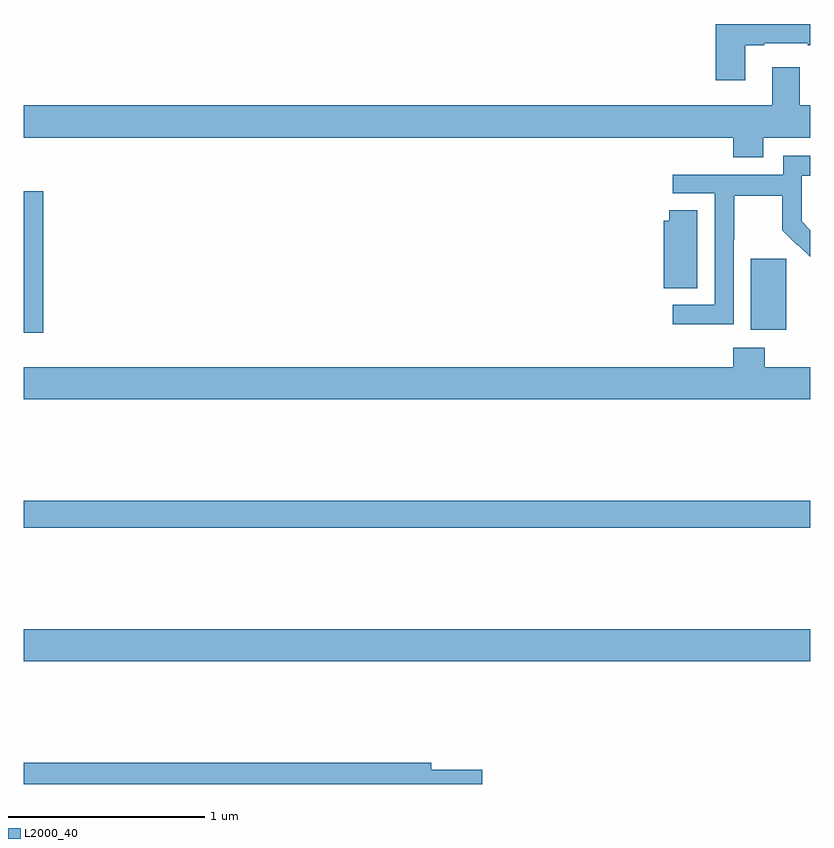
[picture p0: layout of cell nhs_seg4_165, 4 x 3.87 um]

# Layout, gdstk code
import gdstk
lib = gdstk.Library(unit=1e-6, precision=1e-09)
def R(c, l, rs):  # rectangles x0, y0, x1, y1
    for r in rs: c.add(gdstk.rectangle(r[:2], r[2:], *l))
def P(c, l, *ps):  # polygons
    for p in ps: c.add(gdstk.Polygon(p, *l))
L2000_40 = (2000, 40)

nhs_seg4_165 = lib.new_cell('nhs_seg4_165')
R(nhs_seg4_165, L2000_40, [(119,759.524,123,759.688), (119,760.204,123,760.34), (119,761.196,119.099,761.914), (122.699,761.21,122.878,761.571)])
P(nhs_seg4_165, L2000_40, [(122.671,762.657),(122.767,762.657),(122.767,762.669),(122.987,762.669),(122.987,762.657),(123,762.657),(123,762.766),(122.519,762.766),(122.519,762.48),(122.671,762.48)],
  [(122.761,762.188),(123,762.188),(123,762.352),(122.947,762.352),(122.947,762.547),(122.807,762.547),(122.807,762.352),(119,762.352),(119,762.188),(122.609,762.188),(122.609,762.089),(122.761,762.089)],
  [(122.61,761.668),(122.613,761.668),(122.613,761.892),(122.857,761.892),(122.857,761.717),(122.934,761.64),(122.937,761.643),(123,761.581),(123,761.718),(122.956,761.762),(122.956,761.859),(122.958,761.859),(122.958,761.993),(123,761.993),(123,762.097),(122.862,762.097),(122.862,762),(122.301,762),(122.301,761.904),(122.514,761.904),(122.514,761.337),(122.301,761.337),(122.301,761.239),(122.61,761.239)],
  [(122.425,761.819),(122.282,761.819),(122.282,761.766),(122.255,761.766),(122.255,761.422),(122.425,761.422)],
  [(123,761.02),(122.769,761.02),(122.769,761.119),(122.609,761.119),(122.609,761.02),(119,761.02),(119,760.856),(123,760.856)],
  [(121.333,758.972),(121.072,758.972),(121.072,759.008),(119,759.008),(119,758.9),(121.333,758.9)])

lib.write_gds('nhs_seg4_165.gds')
